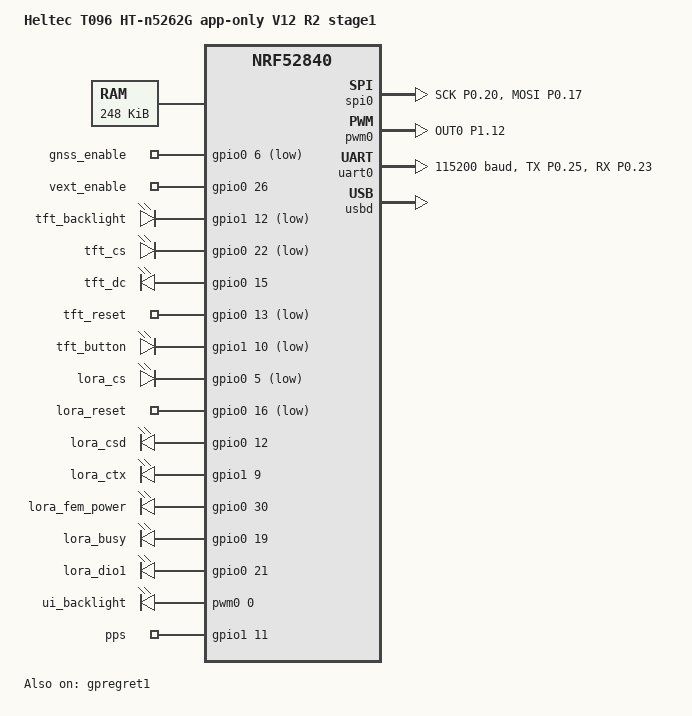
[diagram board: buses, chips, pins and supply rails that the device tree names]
/dts-v1/;
#include <nordic/nrf52840_qiaa.dtsi>
#include <zephyr/dt-bindings/gpio/gpio.h>
#include <zephyr/dt-bindings/pinctrl/nrf-pinctrl.h>
#include <zephyr/dt-bindings/pwm/pwm.h>

/ {
  model = "Heltec T096 HT-n5262G app-only V12 R2 stage1";
  compatible = "heltec,t096-v12";
  chosen {
    zephyr,sram = &app_sram;
    zephyr,flash = &flash0;
    zephyr,code-partition = &code_partition;
    zephyr,console = &cdc_acm_uart0;

  };
  app_sram: memory@20002000 {
    compatible = "mmio-sram"; device_type = "memory";
    reg = <0x20002000 0x3e000>;
  };
  app_pins {
    compatible = "gpio-leds";
    gnss_enable: gnss_enable { gpios = <&gpio0 6 GPIO_ACTIVE_LOW>; };
    vext_enable: vext_enable { gpios = <&gpio0 26 GPIO_ACTIVE_HIGH>; };
    tft_backlight: tft_backlight { gpios = <&gpio1 12 GPIO_ACTIVE_LOW>; };
    tft_cs: tft_cs { gpios = <&gpio0 22 GPIO_ACTIVE_LOW>; };
    tft_dc: tft_dc { gpios = <&gpio0 15 GPIO_ACTIVE_HIGH>; };
    tft_reset: tft_reset { gpios = <&gpio0 13 GPIO_ACTIVE_LOW>; };
    tft_button: tft_button { gpios = <&gpio1 10 GPIO_ACTIVE_LOW>; };
    lora_cs: lora_cs { gpios = <&gpio0 5 GPIO_ACTIVE_LOW>; };
    lora_reset: lora_reset { gpios = <&gpio0 16 GPIO_ACTIVE_LOW>; };
    lora_csd: lora_csd { gpios = <&gpio0 12 GPIO_ACTIVE_HIGH>; };
    lora_ctx: lora_ctx { gpios = <&gpio1 9 GPIO_ACTIVE_HIGH>; };
    lora_fem_power: lora_fem_power { gpios = <&gpio0 30 GPIO_ACTIVE_HIGH>; };
    lora_busy: lora_busy { gpios = <&gpio0 19 GPIO_ACTIVE_HIGH>; };
    lora_dio1: lora_dio1 { gpios = <&gpio0 21 GPIO_ACTIVE_HIGH>; };
  };
  backlight_pwm {
    compatible = "pwm-leds";
    ui_backlight: ui_backlight { pwms = <&pwm0 0 PWM_MSEC(1) PWM_POLARITY_INVERTED>; };
  };
  pps_pin {
    compatible = "gpio-keys";
    pps: pps { gpios = <&gpio1 11 GPIO_ACTIVE_HIGH>; };
  };
};

/* Match the existing raw application layout, including low8KiB MBR RAM.
 * No stock DK GPIO/flash layout, UICR patch, or sibling board is inherited. */
&sram0 { status = "disabled"; };
&flash0 {
  partitions {
    compatible = "fixed-partitions";
    #address-cells = <1>; #size-cells = <1>;
    resident_partition: partition@0 {
      label = "resident_mbr_s140"; read-only; reg = <0x0 0x26000>;
    };
    code_partition: partition@26000 {
      label = "v12_application"; reg = <0x26000 0xbf000>;
    };
    journal_partition: partition@e5000 {
      label = "existing_cache_journal"; read-only; reg = <0xe5000 0x8000>;
    };
    protected_partition: partition@ed000 {
      label = "protected_recovery_boot"; read-only; reg = <0xed000 0x13000>;
    };
  };
};
&gpio0 { status = "okay"; };
&gpio1 { status = "okay"; };
&gpiote { status = "okay"; };
&pinctrl {
  display_spi_default: display_spi_default {
    group1 { psels = <NRF_PSEL(SPIM_SCK, 0, 20)>, <NRF_PSEL(SPIM_MOSI, 0, 17)>; };
  };
  display_spi_sleep: display_spi_sleep {
    group1 { psels = <NRF_PSEL(SPIM_SCK, 0, 20)>, <NRF_PSEL(SPIM_MOSI, 0, 17)>; low-power-enable; };
  };
  display_pwm_default: display_pwm_default {
    group1 { psels = <NRF_PSEL(PWM_OUT0, 1, 12)>; nordic,invert; };
  };
  display_pwm_sleep: display_pwm_sleep {
    group1 { psels = <NRF_PSEL(PWM_OUT0, 1, 12)>; low-power-enable; };
  };
  gnss_uart_default: gnss_uart_default {
    group1 { psels = <NRF_PSEL(UART_TX, 0, 25)>, <NRF_PSEL(UART_RX, 0, 23)>; };
  };
  gnss_uart_sleep: gnss_uart_sleep {
    group1 {
      psels = <NRF_PSEL(UART_TX, 0, 25)>, <NRF_PSEL(UART_RX, 0, 23)>;
      low-power-enable;
    };
  };
  lora_spi_default: lora_spi_default {
    group1 {
      psels = <NRF_PSEL(SPIM_SCK, 1, 8)>, <NRF_PSEL(SPIM_MOSI, 0, 11)>,
              <NRF_PSEL(SPIM_MISO, 0, 14)>;
    };
  };
  lora_spi_sleep: lora_spi_sleep {
    group1 {
      psels = <NRF_PSEL(SPIM_SCK, 1, 8)>, <NRF_PSEL(SPIM_MOSI, 0, 11)>,
              <NRF_PSEL(SPIM_MISO, 0, 14)>;
      low-power-enable;
    };
  };
};
&spi0 {
  /* SPIM0 IRQ3 at priority6: below BLE controller work. */
  interrupts = <3 6>;
  compatible = "nordic,nrf-spim"; status = "okay";
  pinctrl-0 = <&display_spi_default>; pinctrl-1 = <&display_spi_sleep>;
  pinctrl-names = "default", "sleep";
};
&pwm0 {
  status = "okay";
  interrupts = <28 6>;
  pinctrl-0 = <&display_pwm_default>; pinctrl-1 = <&display_pwm_sleep>;
  pinctrl-names = "default", "sleep";
};
/* Driver-owned SPIM1/DMA/IRQ. There is no SPI transaction or radio command
 * at boot; the unqualified SX1262 stays reset with its FEM disabled. */
&spi1 {
  compatible = "nordic,nrf-spim";
  status = "disabled";
  pinctrl-0 = <&lora_spi_default>; pinctrl-1 = <&lora_spi_sleep>;
  pinctrl-names = "default", "sleep";
};
&uart0 {
  compatible = "nordic,nrf-uarte";
  status = "okay"; current-speed = <115200>;
  /* UC6580 must be powered before the public driver starts EasyDMA RX. */
  zephyr,deferred-init;
  pinctrl-0 = <&gnss_uart_default>; pinctrl-1 = <&gnss_uart_sleep>;
  pinctrl-names = "default", "sleep";
};
zephyr_udc0: &usbd {
  compatible = "nordic,nrf-usbd"; status = "okay";
  cdc_acm_uart0: cdc_acm_uart0 { compatible = "zephyr,cdc-acm-uart"; };
};
/* TIMER3 is reserved for a later controller-safe PPS/capture adapter. No
 * TIMER3/PPI/RADIO capture route is installed by this transport milestone. */
&timer3 { status = "disabled"; };
/* Application nrfx TIMER4 only: LoRa FEM cutoff, never timing capture. */
&timer4 { status = "disabled"; };

/* Public retained-memory owner for resident bootloader request only. */
&gpregret1 { status = "okay"; };
&gpregret2 { status = "disabled"; };
